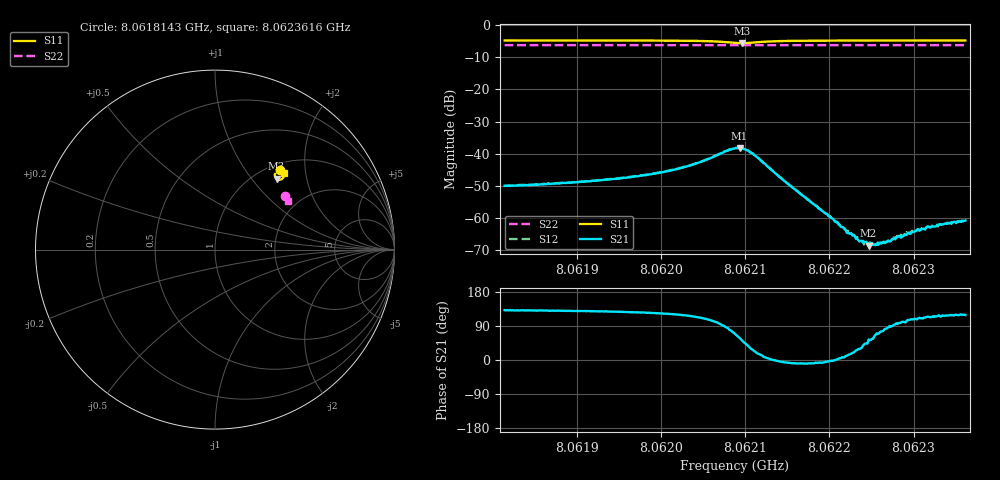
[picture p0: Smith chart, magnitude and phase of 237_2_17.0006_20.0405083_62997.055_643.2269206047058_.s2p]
#  HZ  S  RI  R  50.00
! Rohde & Schwarz Vector Network Analyzer
! Rohde-Schwarz,ZNB20-2Port,1311601062101988,3.16
! Created: UTC 3/20/2024, 11:02:43 PM
! freq[Hz]  re:S11  im:S11  re:S21  im:S21  re:S12  im:S12  re:S22  im:S22
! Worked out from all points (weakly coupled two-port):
!   401 points, 8.0618143 GHz to 8.0623616 GHz, reference 50 ohm
!   highest |S21| = -38.21 dB at 8.0620934 GHz (marker M1); lowest = -68.6 dB at 8.0622467 GHz (marker M2)
!   lowest |S11| = -5.6 dB at 8.0620962 GHz (marker M3), VSWR 3.19, Z = 61.8 + j67.2 ohm
!   |S11| at or under -10 dB: nowhere
!   |S22| runs from -6.3 to -6.2 dB; largest |S21 - S12| = 0.00089
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8.06181427e9  0.3648 0.4455  -0.0021 0.00236  -0.00193 0.00254  0.3877 0.2959
8.06190595e9  0.3715 0.4395  -0.00232 0.00284  -0.00218 0.003  0.3909 0.2913
8.06194838e9  0.3749 0.4358  -0.00248 0.00327  -0.00232 0.00344  0.3925 0.2893
8.06199764e9  0.3797 0.4295  -0.00277 0.0042  -0.00255 0.00443  0.3941 0.2867
8.06203595e9  0.3835 0.4201  -0.00288 0.00599  -0.00254 0.00621  0.3953 0.2844
8.06208796e9  0.3572 0.3892  0.0044 0.0113  0.00511 0.0112  0.3953 0.2811
8.06209343e9  0.3472 0.3919  0.00652 0.0104  0.00727 0.0101  0.3951 0.281
8.06209617e9  0.3428 0.3947  0.00745 0.0096  0.00813 0.00915  0.3951 0.2812
8.06210438e9  0.3342 0.4082  0.009 0.00632  0.00939 0.0057  0.3951 0.2814
8.06211396e9  0.3353 0.4231  0.00843 0.00276  0.00846 0.00238  0.3957 0.2817
8.06214406e9  0.3543 0.439  0.004 -0.000331  0.00401 -0.000609  0.3978 0.2808
8.06217964e9  0.3668 0.4385  0.00169 -0.000263  0.00169 -0.000371  0.3994 0.2788
8.06220701e9  0.372 0.4366  0.00088 3.23e-06  0.000872 -4.08e-05  0.4005 0.2774
8.06222206e9  0.3741 0.4355  0.000569 0.000132  0.000616 0.000133  0.4011 0.2768
8.06223848e9  0.3763 0.4344  0.000385 0.000245  0.000368 0.000223  0.4015 0.2759
8.06224669e9  0.3772 0.4339  0.000217 0.0003  0.000274 0.0003  0.402 0.2752
8.06225627e9  0.3782 0.4332  0.000135 0.000375  0.00019 0.000333  0.4022 0.2748
8.06227132e9  0.3797 0.4323  4.74e-06 0.000432  3.82e-05 0.000419  0.4028 0.2741
8.06227953e9  0.3803 0.4317  -5.99e-05 0.000502  -2.2e-05 0.000504  0.403 0.2737
8.06231922e9  0.3836 0.4293  -0.000278 0.000659  -0.000241 0.000681  0.4043 0.2717
8.06234932e9  0.386 0.4275  -0.000421 0.000763  -0.00039 0.00079  0.4053 0.2701
8.06236164e9  0.3868 0.4268  -0.00044 0.000804  -0.000362 0.000807  0.4057 0.2695
